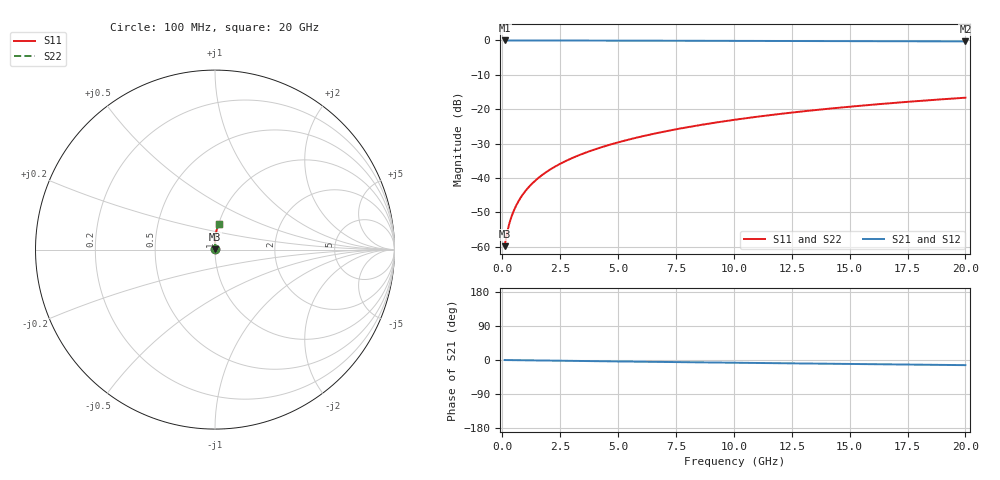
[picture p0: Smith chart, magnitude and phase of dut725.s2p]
! Touchstone file exported from HFSS 2024.1.0
!  File:  C:/UserFiles/LocalFiles/RDL_TSV_Batchsim/temp_RDL_top_725_1779850808.aedt
!  Generated:  11:02:29 AM May 27, 2026
!  Design:  RDL_top
!  Project:  temp_RDL_top_725_1779850808
!  Setup:  Setup1
!  Solution:  Sweep
! Variables:
!  dtsv = 10.80580581um
!  hbump = 3um
!  htsv = 64.3um
!  ldown = 100um
!  lrdl = 171.16um
!  p = 40
!  p1 = 47.96um
!  rhole = 1um
!  t = 450um
!  tdown = 3.915915916um
!  trdl = 4.75um
!  wdown = 15.38538539um
!  wrdl = 21.91um
# GHz S MA R 50.000000
! Terminal data exported
! Port[1] = Box2_T1
! Port[2] = Box2_T2
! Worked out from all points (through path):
!   200 points, 100 MHz to 20 GHz, reference 50 ohm
!   highest |S21| = -0.01 dB at 100 MHz (marker M1); lowest = -0.3 dB at 20 GHz (marker M2)
!   group delay of S21, straight-line fit = 1.86 ps
!   lowest |S11| = -59.8 dB at 100 MHz (marker M3), VSWR 1.00, Z = 50.1 + j0.0696 ohm
!   |S11| at or under -10 dB: start of sweep to end of sweep
!   |S22| runs from -59.8 to -16.7 dB; largest |S21 - S12| = 4e-15
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0.1  0.001019 43.0  0.9993 -0.1  0.9993 -0.1  0.001019 43.0
! Gamma 0 0 0 0
! Port Impedance 50 0 50 0
0.2  0.001568 59.9  0.9992 -0.2  0.9992 -0.2  0.001568 59.9
0.3  0.002155 67.7  0.9991 -0.2  0.9991 -0.2  0.002155 67.7
0.4  0.002753 72.3  0.9991 -0.3  0.9991 -0.3  0.002753 72.3
0.5  0.003359 75.4  0.9991 -0.4  0.9991 -0.4  0.003359 75.4
0.6  0.003972 77.6  0.999 -0.5  0.999 -0.5  0.003972 77.6
0.8  0.005211 80.6  0.9989 -0.6  0.9989 -0.6  0.005211 80.6
1.1  0.007093 83.3  0.9988 -0.9  0.9988 -0.9  0.007093 83.3
1.5  0.009629 85.3  0.9985 -1.2  0.9985 -1.2  0.009629 85.3
1.8  0.01155 86.3  0.9982 -1.4  0.9982 -1.4  0.01155 86.3
2.1  0.01348 87.1  0.9979 -1.6  0.9979 -1.6  0.01348 87.1
2.7  0.01738 88.1  0.9973 -2.1  0.9973 -2.1  0.01738 88.1
3.5  0.02267 89.0  0.9962 -2.7  0.9962 -2.7  0.02267 89.0
4.2  0.0274 89.5  0.9951 -3.2  0.9951 -3.2  0.0274 89.5
5  0.03292 89.8  0.9937 -3.8  0.9937 -3.8  0.03292 89.8
5.9  0.0393 90.0  0.9922 -4.4  0.9922 -4.4  0.0393 90.0
6.8  0.04582 90.0  0.9905 -5.1  0.9905 -5.1  0.04582 90.0
8.4  0.05774 89.5  0.9876 -6.2  0.9876 -6.2  0.05774 89.5
10.1  0.0707 88.7  0.9846 -7.3  0.9846 -7.3  0.0707 88.7
13.4  0.09625 86.5  0.979 -9.4  0.979 -9.4  0.09625 86.5
16.7  0.1218 84.0  0.9736 -11.5  0.9736 -11.5  0.1218 84.0
20  0.147 81.5  0.9682 -13.6  0.9682 -13.6  0.147 81.5
